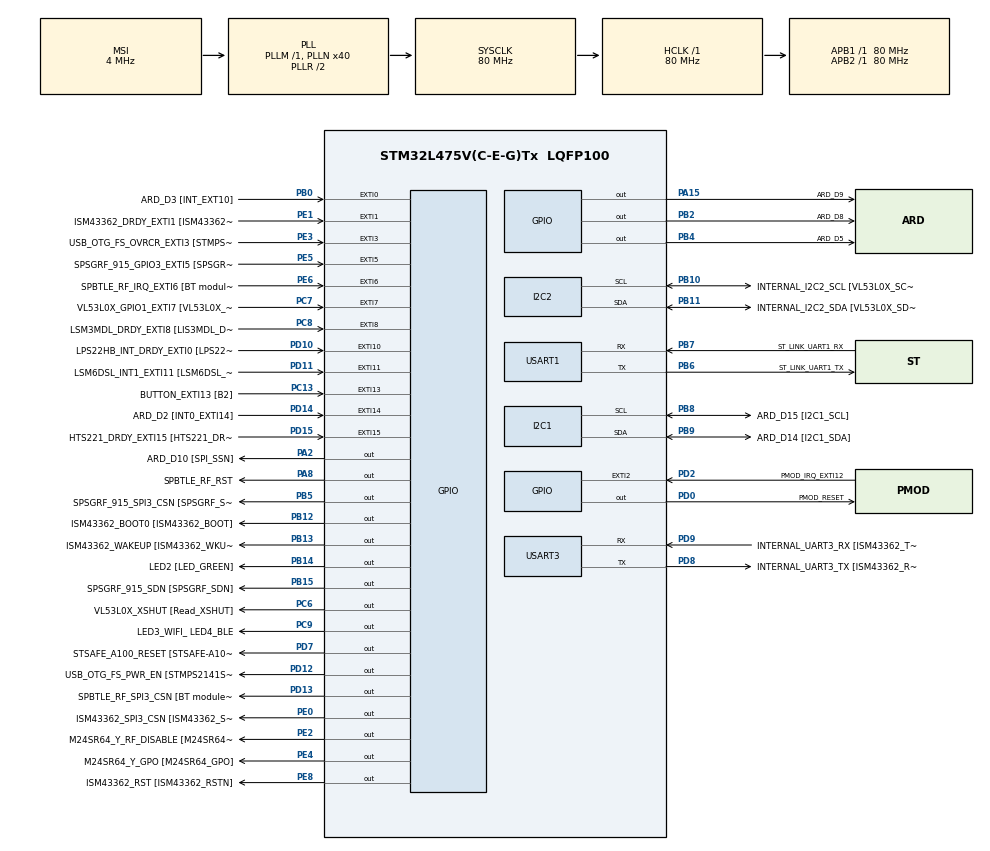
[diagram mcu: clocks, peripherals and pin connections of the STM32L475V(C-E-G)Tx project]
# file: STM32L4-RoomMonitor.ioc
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I2C1.Timing=0x10909CEC
I2C2.Timing=0x10909CEC
Mcu.Family=STM32L4
Mcu.Name=STM32L475V(C-E-G)Tx
Mcu.Package=LQFP100
NVIC.EXTI15_10_IRQn=true\:0\:0\:false\:false\:true\:true\:true
NVIC.EXTI9_5_IRQn=true\:0\:0\:false\:false\:true\:true\:true
NVIC.PriorityGroup=NVIC_PRIORITYGROUP_4
NVIC.TIM2_IRQn=true\:0\:0\:false\:false\:true\:true\:true
PA0.GPIO_Label=ARD_D1 [UART4_TX]
PA0.Signal=UART4_TX
PA1.GPIO_Label=ARD_D0 [UART4_RX]
PA1.Signal=UART4_RX
PA10.GPIO_Label=USB_OTG_FS_ID
PA10.Signal=USB_OTG_FS_ID
PA11.GPIO_Label=USB_OTG_FS_DM
PA11.Signal=USB_OTG_FS_DM
PA12.GPIO_Label=USB_OTG_FS_DP
PA12.Signal=USB_OTG_FS_DP
PA13\ (JTMS-SWDIO).GPIO_Label=SYS_JTMS_SWDIO
PA13\ (JTMS-SWDIO).Mode=Serial_Wire
PA13\ (JTMS-SWDIO).Signal=SYS_JTMS-SWDIO
PA14\ (JTCK-SWCLK).GPIO_Label=SYS_JTCK_SWCLK
PA14\ (JTCK-SWCLK).Mode=Serial_Wire
PA14\ (JTCK-SWCLK).Signal=SYS_JTCK-SWCLK
PA15\ (JTDI).GPIO_Label=ARD_D9
PA15\ (JTDI).Signal=GPIO_Output
PA2.GPIO_Label=ARD_D10 [SPI_SSN]
PA2.Signal=GPIO_Output
PA3.GPIO_Label=ARD_D4
PA3.Signal=S_TIM2_CH4
PA4.GPIO_Label=ARD_D7
PA4.Signal=ADCx_IN9
PA5.GPIO_Label=ARD_D13 [SPI1_SCK]
PA5.Signal=SPI1_SCK
PA6.GPIO_Label=ARD_D12 [SPI1_MISO]
PA6.Signal=SPI1_MISO
PA7.GPIO_Label=ARD_D11 [SPI1_MOSI]
PA7.Signal=SPI1_MOSI
PA8.GPIO_Label=SPBTLE_RF_RST
PA8.Signal=GPIO_Output
PA9.GPIO_Label=USB_OTG_FS_VBUS [STMPS2141STR_OUT]
PA9.Signal=USB_OTG_FS_VBUS
PB0.GPIO_Label=ARD_D3 [INT_EXT10]
PB0.Signal=GPXTI0
PB1.GPIO_Label=ARD_D6 [ADC1_IN6]
PB1.Signal=ADCx_IN16
PB10.GPIO_Label=INTERNAL_I2C2_SCL [VL53L0X_SCL]
PB10.GPIO_Pu=GPIO_PULLUP
PB10.Mode=I2C
PB10.Signal=I2C2_SCL
PB11.GPIO_Label=INTERNAL_I2C2_SDA [VL53L0X_SDA]
PB11.GPIO_Pu=GPIO_PULLUP
PB11.Mode=I2C
PB11.Signal=I2C2_SDA
PB12.GPIO_Label=ISM43362_BOOT0 [ISM43362_BOOT]
PB12.Signal=GPIO_Output
PB13.GPIO_Label=ISM43362_WAKEUP [ISM43362_WKUP]
PB13.Signal=GPIO_Output
PB14.GPIO_Label=LED2 [LED_GREEN]
PB14.Signal=GPIO_Output
PB15.GPIO_Label=SPSGRF_915_SDN [SPSGRF_SDN]
PB15.Signal=GPIO_Output
PB2.GPIO_Label=ARD_D8
PB2.Signal=GPIO_Output
PB3\ (JTDO-TRACESWO).GPIO_Label=SYS_JTD0_SWO
PB3\ (JTDO-TRACESWO).Signal=SYS_JTDO-SWO
PB4\ (NJTRST).GPIO_Label=ARD_D5
PB4\ (NJTRST).Signal=GPIO_Output
PB5.GPIO_Label=SPSGRF_915_SPI3_CSN [SPSGRF_SPI_CS]
PB5.PinState=GPIO_PIN_SET
PB5.Signal=GPIO_Output
PB6.GPIO_Label=ST_LINK_UART1_TX
PB6.Mode=Asynchronous
PB6.Signal=USART1_TX
PB7.GPIO_Label=ST_LINK_UART1_RX
PB7.Mode=Asynchronous
PB7.Signal=USART1_RX
PB8.GPIO_Label=ARD_D15 [I2C1_SCL]
PB8.Mode=I2C
PB8.Signal=I2C1_SCL
PB9.GPIO_Label=ARD_D14 [I2C1_SDA]
PB9.Mode=I2C
PB9.Signal=I2C1_SDA
PC0.GPIO_Label=ARD_A5 [ADC]
PC0.Signal=ADCx_IN1
PC1.GPIO_Label=ARD_A4 [ADC]
PC1.Signal=ADCx_IN2
PC10.GPIO_Label=INTERNAL_SPI3_SCK [BT module_SPI_SCLK] [ISM43362_SCK]
PC10.Signal=SPI3_SCK
PC11.GPIO_Label=INTERNAL_SPI3_MISO [BT module_SPI_MISO] [ISM43362_MISO]
PC11.Signal=SPI3_MISO
PC12.GPIO_Label=INTERNAL_SPI3_MOSI [BT module_SPI_MOSI] [ISM43362_MOSI]
PC12.Signal=SPI3_MOSI
PC13.GPIO_Label=BUTTON_EXTI13 [B2]
PC13.GPIO_ModeDefaultEXTI=GPIO_MODE_IT_FALLING
PC13.Signal=GPXTI13
PC14-OSC32_IN\ (PC14).Mode=LSE-External-Oscillator
PC14-OSC32_IN\ (PC14).Signal=RCC_OSC32_IN
PC15-OSC32_OUT\ (PC15).Mode=LSE-External-Oscillator
PC15-OSC32_OUT\ (PC15).Signal=RCC_OSC32_OUT
PC2.GPIO_Label=ARD_A3 [ADC]
PC2.Signal=ADCx_IN3
PC3.GPIO_Label=ARD_A2 [ADC]
PC3.Signal=ADCx_IN4
PC4.GPIO_Label=ARD_A1 [ADC]
PC4.Signal=ADCx_IN13
PC5.GPIO_Label=ARD_A0 [ADC]
PC5.Signal=ADCx_IN14
PC6.GPIO_Label=VL53L0X_XSHUT [Read_XSHUT]
PC6.Signal=GPIO_Output
PC7.GPIO_Label=VL53L0X_GPIO1_EXTI7 [VL53L0X_GPIO1]
PC7.Signal=GPXTI7
PC8.GPIO_Label=LSM3MDL_DRDY_EXTI8 [LIS3MDL_DRDY]
PC8.Signal=GPXTI8
PC9.GPIO_Label=LED3_WIFI_ LED4_BLE
PC9.Signal=GPIO_Output
PD0.GPIO_Label=PMOD_RESET
PD0.Signal=GPIO_Output
PD1.GPIO_Label=PMOD_SPI2_SCK
PD1.Signal=SPI2_SCK
PD10.GPIO_Label=LPS22HB_INT_DRDY_EXTI0 [LPS22HB_INT_DRDY] 
PD10.Signal=GPXTI10
PD11.GPIO_Label=LSM6DSL_INT1_EXTI11 [LSM6DSL_INT1]
PD11.Signal=GPXTI11
PD12.GPIO_Label=USB_OTG_FS_PWR_EN [STMPS2141STR_EN]
PD12.Signal=GPIO_Output
PD13.GPIO_Label=SPBTLE_RF_SPI3_CSN [BT module_SPI_CS]
PD13.PinState=GPIO_PIN_SET
PD13.Signal=GPIO_Output
PD14.GPIO_Label=ARD_D2 [INT0_EXTI14]
PD14.Signal=GPXTI14
PD15.GPIO_Label=HTS221_DRDY_EXTI15 [HTS221_DRDY]
PD15.Signal=GPXTI15
PD2.GPIO_Label=PMOD_IRQ_EXTI12
PD2.Signal=GPXTI2
PD3.GPIO_Label=PMOD_UART2_CTS
PD3.Signal=USART2_CTS
PD4.GPIO_Label=PMOD_UART2_RTS
PD4.Signal=USART2_RTS
PD5.GPIO_Label=PMOD_UART2_TX
PD5.Signal=USART2_TX
PD6.GPIO_Label=PMOD_UART2_RX
PD6.Signal=USART2_RX
PD7.GPIO_Label=STSAFE_A100_RESET [STSAFE-A100_RESET]
PD7.Signal=GPIO_Output
PD8.GPIO_Label=INTERNAL_UART3_TX [ISM43362_RX]
PD8.Mode=Asynchronous
PD8.Signal=USART3_TX
PD9.GPIO_Label=INTERNAL_UART3_RX [ISM43362_TX]
PD9.Mode=Asynchronous
PD9.Signal=USART3_RX
PE0.GPIO_Label=ISM43362_SPI3_CSN [ISM43362_SSN]
PE0.PinState=GPIO_PIN_SET
PE0.Signal=GPIO_Output
PE1.GPIO_Label=ISM43362_DRDY_EXTI1 [ISM43362_DATARDY]
PE1.Signal=GPXTI1
PE10.GPIO_Label=QUADSPI_CLK [MX25R6435F_SCLK]
PE10.Signal=QUADSPI_CLK
PE11.GPIO_Label=QUADSPI_NCS [MX25R6435F_SCLK]
PE11.Signal=QUADSPI_NCS
PE12.GPIO_Label=OQUADSPI_BK1_IO0 [MX25R6435F_IO0]
PE12.Signal=QUADSPI_BK1_IO0
PE13.GPIO_Label=QUADSPI_BK1_IO1 [MX25R6435F_IO1]
PE13.Signal=QUADSPI_BK1_IO1
PE14.GPIO_Label=QUAD_SPI_BK1_IO2 [MX25R6435F_IO2]
PE14.Signal=QUADSPI_BK1_IO2
PE15.GPIO_Label=QUAD_SPI_BK1_IO3 [MX25R6435F_IO3]
PE15.Signal=QUADSPI_BK1_IO3
PE2.GPIO_Label=M24SR64_Y_RF_DISABLE [M24SR64_RFDIS]
PE2.Signal=GPIO_Output
PE3.GPIO_Label=USB_OTG_FS_OVRCR_EXTI3 [STMPS2141STR_FAULT]
PE3.Signal=GPXTI3
PE4.GPIO_Label=M24SR64_Y_GPO [M24SR64_GPO]
PE4.Signal=GPIO_Output
PE5.GPIO_Label=SPSGRF_915_GPIO3_EXTI5 [SPSGRF_GPIO_3]
PE5.Signal=GPXTI5
PE6.GPIO_Label=SPBTLE_RF_IRQ_EXTI6 [BT module_SPI_IRQ]
PE6.Signal=GPXTI6
PE7.GPIO_Label=DFSDM1_DATIN2 [MP34DT01_DOUT]
PE7.Signal=S_DATAIN2DFSDM1
PE8.GPIO_Label=ISM43362_RST [ISM43362_RSTN]
PE8.Signal=GPIO_Output
PE9.GPIO_Label=DFSDM1_CKOUT [MP34DT01_CLK]
PE9.Signal=S_CKOUTDFSDM1
ProjectManager.HeapSize=0x200
ProjectManager.StackSize=0x400
ProjectManager.TargetToolchain=STM32CubeIDE
RCC.ADCFreq_Value=48000000
RCC.AHBFreq_Value=80000000
RCC.APB1Freq_Value=80000000
RCC.APB1TimFreq_Value=80000000
RCC.APB2Freq_Value=80000000
RCC.APB2TimFreq_Value=80000000
RCC.CortexFreq_Value=80000000
RCC.HCLKFreq_Value=80000000
RCC.HSE_VALUE=8000000
RCC.HSI_VALUE=16000000
RCC.MSI_VALUE=4000000
RCC.PLLN=40
RCC.PLLSAI1N=24
RCC.SYSCLKFreq_VALUE=80000000
RCC.SYSCLKSource=RCC_SYSCLKSOURCE_PLLCLK
RCC.USBFreq_Value=48000000
RCC.VCOOutputFreq_Value=160000000
SH.ADCx_IN1.0=ADC1_IN1
SH.ADCx_IN13.0=ADC1_IN13
SH.ADCx_IN14.0=ADC1_IN14
SH.ADCx_IN16.0=ADC1_IN16
SH.ADCx_IN2.0=ADC1_IN2
SH.ADCx_IN3.0=ADC1_IN3
SH.ADCx_IN4.0=ADC1_IN4
SH.ADCx_IN9.0=ADC1_IN9
SH.S_CKOUTDFSDM1.0=DFSDM1_CKOUT
SH.S_CKOUTDFSDM1.1=DFSDM1_CKOUT
SH.S_DATAIN2DFSDM1.0=DFSDM1_DATIN2
SH.S_TIM2_CH4.0=TIM2_CH4
TIM2.Period=300000-1
TIM2.Prescaler=16000-1
USART1.VirtualMode-Asynchronous=VM_ASYNC
USART3.VirtualMode-Asynchronous=VM_ASYNC
VP_TIM2_VS_ClockSourceINT.Mode=Internal
board=B-L475E-IOT01A2

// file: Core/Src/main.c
/* USER CODE BEGIN Header */
/**
 ******************************************************************************
 * @file           : main.c
 * @brief          : Main program body
 ******************************************************************************
 * @attention
 *
 * <h2><center>&copy; Copyright (c) 2021 STMicroelectronics.
 * All rights reserved.</center></h2>
 *
 * This software component is licensed by ST under BSD 3-Clause license,
 * the "License"; You may not use this file except in compliance with the
 * License. You may obtain a copy of the License at:
 *                        opensource.org/licenses/BSD-3-Clause
 *
 ******************************************************************************
 */
/* USER CODE END Header */
#include "main.h"

/* USER CODE BEGIN Includes */
#include "stm32l475e_iot01.h"
#include "stm32l475e_iot01_tsensor.h"
#include "stm32l475e_iot01_hsensor.h"
#include "stm32l475e_iot01_psensor.h"
#include "lcm1602.h"
#include <math.h>
#include <stdio.h>
#include <string.h>
/* USER CODE END Includes */

/* USER CODE BEGIN PD */
#define LOW_POWER	1
/* USER CODE END PD */

I2C_HandleTypeDef hi2c1;
I2C_HandleTypeDef hi2c2;

TIM_HandleTypeDef htim2;

UART_HandleTypeDef huart1;
UART_HandleTypeDef huart3;

/* USER CODE BEGIN PV */
int initTim2 = 0;
float temp_value = 0; // Measured temperature value
float hum_value = 0; // Measured relative humidity value
float pres_value = 0; // Measured pressure value
char str_tmp[100] = ""; // Formatted message to display the temperature/humidity value
char msg1[] = "\n\n\r****** Room Monitor Application ******\r\n";
char msg2[] = "=====> Temperature/Humidity sensor HTS221 initialized \r\n ";
char msg3[] = "=====> Barometer sensor LPS22HB initialized \r\n ";
char msg4[] = "=====> LCD LCM1602 initialized \r\n ";
/* USER CODE END PV */

void SystemClock_Config(void);
static void MX_GPIO_Init(void);
static void MX_I2C2_Init(void);
static void MX_USART1_UART_Init(void);
static void MX_USART3_UART_Init(void);
static void MX_I2C1_Init(void);
static void MX_TIM2_Init(void);

int main(void)
{

	/* MCU Configuration--------------------------------------------------------*/

	/* Reset of all peripherals, Initializes the Flash interface and the Systick. */
	HAL_Init();

	/* Configure the system clock */
	SystemClock_Config();

	/* Initialize all configured peripherals */
	MX_GPIO_Init();
	MX_I2C2_Init();
	MX_USART1_UART_Init();
	MX_USART3_UART_Init();
	MX_I2C1_Init();
	MX_TIM2_Init();
	/* USER CODE BEGIN 2 */
	BSP_PB_Init(BUTTON_USER, BUTTON_MODE_EXTI);
	HAL_UART_Transmit(&huart1,( uint8_t * )msg1,strlen(msg1),1000);
	BSP_TSENSOR_Init();
	BSP_HSENSOR_Init();
	HAL_UART_Transmit(&huart1,( uint8_t * )msg2,strlen(msg2),1000);
	BSP_PSENSOR_Init();
	HAL_UART_Transmit(&huart1,( uint8_t * )msg3,strlen(msg3),1000);
	LCM1602_Init(&hi2c1);
	HAL_UART_Transmit(&huart1,( uint8_t * )msg4,strlen(msg4),1000);
	/* USER CODE END 2 */

	/* Infinite loop */
	/* USER CODE BEGIN WHILE */
#if LOW_POWER
	HAL_TIM_Base_Start_IT(&htim2);
	HAL_Delay(100);
#endif
	while (1)
	{
		/* USER CODE END WHILE */

		/* USER CODE BEGIN 3 */
		temp_value = BSP_TSENSOR_ReadTemp();
		int tmpInt1 = temp_value;
		float tmpFrac = temp_value - tmpInt1;
		int tmpInt2 = trunc(tmpFrac * 100);

		hum_value = BSP_HSENSOR_ReadHumidity();
		int humInt1 = hum_value;
		float humFrac = hum_value - humInt1;
		int humInt2 = trunc(humFrac * 100);

		pres_value = BSP_PSENSOR_ReadPressure();
		int presInt1 = pres_value;
		float presFrac = pres_value - presInt1;
		int presInt2 = trunc(presFrac * 100);

		sprintf(str_tmp,"Tick %d TEMPERATURE = %d.%02d Celsius HUMIDITY = %d.%02d %%RH PRESSURE = %d.%02d hPa\n\r",
				HAL_GetTick(), tmpInt1, tmpInt2, humInt1, humInt2, presInt1, presInt2);
		HAL_UART_Transmit(&huart1,( uint8_t * )str_tmp,strlen(str_tmp),1000);

		LCM1602_ClearDisplay(&hi2c1);
		sprintf(str_tmp,"%d.%02d%cC %d.%02d%%RH", tmpInt1, tmpInt2, DEGREES_SYMBOL, humInt1, humInt2);
		LCM1602_DisplayString(&hi2c1, 0, 0, str_tmp, strlen(str_tmp));
		sprintf(str_tmp,"%d.%02d hPa", presInt1, presInt2);
		LCM1602_DisplayString(&hi2c1, 1, 2, str_tmp, strlen(str_tmp));

#if LOW_POWER
		//		 Implementation with Low Power
		HAL_SuspendTick();
		HAL_PWR_EnterSLEEPMode(PWR_MAINREGULATOR_ON, PWR_SLEEPENTRY_WFI);
#else
		// Implementation without Low Power. Delay 5 min
		int min = 5;
		int sec = 0;
		HAL_Delay((min * 60 + sec) * 1000);
#endif
	}
	/* USER CODE END 3 */
}

void SystemClock_Config(void)
{
	RCC_OscInitTypeDef RCC_OscInitStruct = {0};
	RCC_ClkInitTypeDef RCC_ClkInitStruct = {0};

	/** Configure the main internal regulator output voltage
	 */
	if (HAL_PWREx_ControlVoltageScaling(PWR_REGULATOR_VOLTAGE_SCALE1) != HAL_OK)
	{
		Error_Handler();
	}
	/** Configure LSE Drive Capability
	 */
	HAL_PWR_EnableBkUpAccess();
	__HAL_RCC_LSEDRIVE_CONFIG(RCC_LSEDRIVE_LOW);
	/** Initializes the RCC Oscillators according to the specified parameters
	 * in the RCC_OscInitTypeDef structure.
	 */
	RCC_OscInitStruct.OscillatorType = RCC_OSCILLATORTYPE_LSE|RCC_OSCILLATORTYPE_MSI;
	RCC_OscInitStruct.LSEState = RCC_LSE_ON;
	RCC_OscInitStruct.MSIState = RCC_MSI_ON;
	RCC_OscInitStruct.MSICalibrationValue = 0;
	RCC_OscInitStruct.MSIClockRange = RCC_MSIRANGE_6;
	RCC_OscInitStruct.PLL.PLLState = RCC_PLL_ON;
	RCC_OscInitStruct.PLL.PLLSource = RCC_PLLSOURCE_MSI;
	RCC_OscInitStruct.PLL.PLLM = 1;
	RCC_OscInitStruct.PLL.PLLN = 40;
	RCC_OscInitStruct.PLL.PLLP = RCC_PLLP_DIV7;
	RCC_OscInitStruct.PLL.PLLQ = RCC_PLLQ_DIV2;
	RCC_OscInitStruct.PLL.PLLR = RCC_PLLR_DIV2;
	if (HAL_RCC_OscConfig(&RCC_OscInitStruct) != HAL_OK)
	{
		Error_Handler();
	}
	/** Initializes the CPU, AHB and APB buses clocks
	 */
	RCC_ClkInitStruct.ClockType = RCC_CLOCKTYPE_HCLK|RCC_CLOCKTYPE_SYSCLK
			|RCC_CLOCKTYPE_PCLK1|RCC_CLOCKTYPE_PCLK2;
	RCC_ClkInitStruct.SYSCLKSource = RCC_SYSCLKSOURCE_PLLCLK;
	RCC_ClkInitStruct.AHBCLKDivider = RCC_SYSCLK_DIV1;
	RCC_ClkInitStruct.APB1CLKDivider = RCC_HCLK_DIV1;
	RCC_ClkInitStruct.APB2CLKDivider = RCC_HCLK_DIV1;

	if (HAL_RCC_ClockConfig(&RCC_ClkInitStruct, FLASH_LATENCY_4) != HAL_OK)
	{
		Error_Handler();
	}
	/** Enable MSI Auto calibration
	 */
	HAL_RCCEx_EnableMSIPLLMode();
}

static void MX_I2C1_Init(void)
{

	hi2c1.Instance = I2C1;
	hi2c1.Init.Timing = 0x10909CEC;
	hi2c1.Init.OwnAddress1 = 0;
	hi2c1.Init.AddressingMode = I2C_ADDRESSINGMODE_7BIT;
	hi2c1.Init.DualAddressMode = I2C_DUALADDRESS_DISABLE;
	hi2c1.Init.OwnAddress2 = 0;
	hi2c1.Init.OwnAddress2Masks = I2C_OA2_NOMASK;
	hi2c1.Init.GeneralCallMode = I2C_GENERALCALL_DISABLE;
	hi2c1.Init.NoStretchMode = I2C_NOSTRETCH_DISABLE;
	if (HAL_I2C_Init(&hi2c1) != HAL_OK)
	{
		Error_Handler();
	}
	/** Configure Analogue filter
	 */
	if (HAL_I2CEx_ConfigAnalogFilter(&hi2c1, I2C_ANALOGFILTER_ENABLE) != HAL_OK)
	{
		Error_Handler();
	}
	/** Configure Digital filter
	 */
	if (HAL_I2CEx_ConfigDigitalFilter(&hi2c1, 0) != HAL_OK)
	{
		Error_Handler();
	}

}

static void MX_I2C2_Init(void)
{

	hi2c2.Instance = I2C2;
	hi2c2.Init.Timing = 0x10909CEC;
	hi2c2.Init.OwnAddress1 = 0;
	hi2c2.Init.AddressingMode = I2C_ADDRESSINGMODE_7BIT;
	hi2c2.Init.DualAddressMode = I2C_DUALADDRESS_DISABLE;
	hi2c2.Init.OwnAddress2 = 0;
	hi2c2.Init.OwnAddress2Masks = I2C_OA2_NOMASK;
	hi2c2.Init.GeneralCallMode = I2C_GENERALCALL_DISABLE;
	hi2c2.Init.NoStretchMode = I2C_NOSTRETCH_DISABLE;
	if (HAL_I2C_Init(&hi2c2) != HAL_OK)
	{
		Error_Handler();
	}
	/** Configure Analogue filter
	 */
	if (HAL_I2CEx_ConfigAnalogFilter(&hi2c2, I2C_ANALOGFILTER_ENABLE) != HAL_OK)
	{
		Error_Handler();
	}
	/** Configure Digital filter
	 */
	if (HAL_I2CEx_ConfigDigitalFilter(&hi2c2, 0) != HAL_OK)
	{
		Error_Handler();
	}

}

static void MX_TIM2_Init(void)
{

	TIM_ClockConfigTypeDef sClockSourceConfig = {0};
	TIM_MasterConfigTypeDef sMasterConfig = {0};

	htim2.Instance = TIM2;
	htim2.Init.Prescaler = 16000-1;
	htim2.Init.CounterMode = TIM_COUNTERMODE_UP;
	htim2.Init.Period = (5*300000)-1;
	htim2.Init.ClockDivision = TIM_CLOCKDIVISION_DIV1;
	htim2.Init.AutoReloadPreload = TIM_AUTORELOAD_PRELOAD_DISABLE;
	if (HAL_TIM_Base_Init(&htim2) != HAL_OK)
	{
		Error_Handler();
	}
	sClockSourceConfig.ClockSource = TIM_CLOCKSOURCE_INTERNAL;
	if (HAL_TIM_ConfigClockSource(&htim2, &sClockSourceConfig) != HAL_OK)
	{
		Error_Handler();
	}
	sMasterConfig.MasterOutputTrigger = TIM_TRGO_RESET;
	sMasterConfig.MasterSlaveMode = TIM_MASTERSLAVEMODE_DISABLE;
	if (HAL_TIMEx_MasterConfigSynchronization(&htim2, &sMasterConfig) != HAL_OK)
	{
		Error_Handler();
	}

}

static void MX_USART1_UART_Init(void)
{

	huart1.Instance = USART1;
	huart1.Init.BaudRate = 115200;
	huart1.Init.WordLength = UART_WORDLENGTH_8B;
	huart1.Init.StopBits = UART_STOPBITS_1;
	huart1.Init.Parity = UART_PARITY_NONE;
	huart1.Init.Mode = UART_MODE_TX_RX;
	huart1.Init.HwFlowCtl = UART_HWCONTROL_NONE;
	huart1.Init.OverSampling = UART_OVERSAMPLING_16;
	huart1.Init.OneBitSampling = UART_ONE_BIT_SAMPLE_DISABLE;
	huart1.AdvancedInit.AdvFeatureInit = UART_ADVFEATURE_NO_INIT;
	if (HAL_UART_Init(&huart1) != HAL_OK)
	{
		Error_Handler();
	}

}

static void MX_USART3_UART_Init(void)
{

	huart3.Instance = USART3;
	huart3.Init.BaudRate = 115200;
	huart3.Init.WordLength = UART_WORDLENGTH_8B;
	huart3.Init.StopBits = UART_STOPBITS_1;
	huart3.Init.Parity = UART_PARITY_NONE;
	huart3.Init.Mode = UART_MODE_TX_RX;
	huart3.Init.HwFlowCtl = UART_HWCONTROL_NONE;
	huart3.Init.OverSampling = UART_OVERSAMPLING_16;
	huart3.Init.OneBitSampling = UART_ONE_BIT_SAMPLE_DISABLE;
	huart3.AdvancedInit.AdvFeatureInit = UART_ADVFEATURE_NO_INIT;
	if (HAL_UART_Init(&huart3) != HAL_OK)
	{
		Error_Handler();
	}

}

static void MX_GPIO_Init(void)
{
	GPIO_InitTypeDef GPIO_InitStruct = {0};

	/* GPIO Ports Clock Enable */
	__HAL_RCC_GPIOE_CLK_ENABLE();
	__HAL_RCC_GPIOC_CLK_ENABLE();
	__HAL_RCC_GPIOA_CLK_ENABLE();
	__HAL_RCC_GPIOB_CLK_ENABLE();
	__HAL_RCC_GPIOD_CLK_ENABLE();

	/*Configure GPIO pin Output Level */
	HAL_GPIO_WritePin(GPIOE, M24SR64_Y_RF_DISABLE_Pin|M24SR64_Y_GPO_Pin|ISM43362_RST_Pin, GPIO_PIN_RESET);

	/*Configure GPIO pin Output Level */
	HAL_GPIO_WritePin(GPIOA, ARD_D10_Pin|SPBTLE_RF_RST_Pin|ARD_D9_Pin, GPIO_PIN_RESET);

	/*Configure GPIO pin Output Level */
	HAL_GPIO_WritePin(GPIOB, ARD_D8_Pin|ISM43362_BOOT0_Pin|ISM43362_WAKEUP_Pin|LED2_Pin
			|SPSGRF_915_SDN_Pin|ARD_D5_Pin, GPIO_PIN_RESET);

	/*Configure GPIO pin Output Level */
	HAL_GPIO_WritePin(GPIOD, USB_OTG_FS_PWR_EN_Pin|PMOD_RESET_Pin|STSAFE_A100_RESET_Pin, GPIO_PIN_RESET);

	/*Configure GPIO pin Output Level */
	HAL_GPIO_WritePin(SPBTLE_RF_SPI3_CSN_GPIO_Port, SPBTLE_RF_SPI3_CSN_Pin, GPIO_PIN_SET);

	/*Configure GPIO pin Output Level */
	HAL_GPIO_WritePin(GPIOC, VL53L0X_XSHUT_Pin|LED3_WIFI__LED4_BLE_Pin, GPIO_PIN_RESET);

	/*Configure GPIO pin Output Level */
	HAL_GPIO_WritePin(SPSGRF_915_SPI3_CSN_GPIO_Port, SPSGRF_915_SPI3_CSN_Pin, GPIO_PIN_SET);

	/*Configure GPIO pin Output Level */
	HAL_GPIO_WritePin(ISM43362_SPI3_CSN_GPIO_Port, ISM43362_SPI3_CSN_Pin, GPIO_PIN_SET);

	/*Configure GPIO pins : M24SR64_Y_RF_DISABLE_Pin M24SR64_Y_GPO_Pin ISM43362_RST_Pin ISM43362_SPI3_CSN_Pin */
	GPIO_InitStruct.Pin = M24SR64_Y_RF_DISABLE_Pin|M24SR64_Y_GPO_Pin|ISM43362_RST_Pin|ISM43362_SPI3_CSN_Pin;
	GPIO_InitStruct.Mode = GPIO_MODE_OUTPUT_PP;
	GPIO_InitStruct.Pull = GPIO_NOPULL;
	GPIO_InitStruct.Speed = GPIO_SPEED_FREQ_LOW;
	HAL_GPIO_Init(GPIOE, &GPIO_InitStruct);

	/*Configure GPIO pins : USB_OTG_FS_OVRCR_EXTI3_Pin SPSGRF_915_GPIO3_EXTI5_Pin SPBTLE_RF_IRQ_EXTI6_Pin ISM43362_DRDY_EXTI1_Pin */
	GPIO_InitStruct.Pin = USB_OTG_FS_OVRCR_EXTI3_Pin|SPSGRF_915_GPIO3_EXTI5_Pin|SPBTLE_RF_IRQ_EXTI6_Pin|ISM43362_DRDY_EXTI1_Pin;
	GPIO_InitStruct.Mode = GPIO_MODE_IT_RISING;
	GPIO_InitStruct.Pull = GPIO_NOPULL;
	HAL_GPIO_Init(GPIOE, &GPIO_InitStruct);

	/*Configure GPIO pin : BUTTON_EXTI13_Pin */
	GPIO_InitStruct.Pin = BUTTON_EXTI13_Pin;
	GPIO_InitStruct.Mode = GPIO_MODE_IT_FALLING;
	GPIO_InitStruct.Pull = GPIO_NOPULL;
	HAL_GPIO_Init(BUTTON_EXTI13_GPIO_Port, &GPIO_InitStruct);

	/*Configure GPIO pins : ARD_A5_Pin ARD_A4_Pin ARD_A3_Pin ARD_A2_Pin
                           ARD_A1_Pin ARD_A0_Pin */
	GPIO_InitStruct.Pin = ARD_A5_Pin|ARD_A4_Pin|ARD_A3_Pin|ARD_A2_Pin
			|ARD_A1_Pin|ARD_A0_Pin;
	GPIO_InitStruct.Mode = GPIO_MODE_ANALOG_ADC_CONTROL;
	GPIO_InitStruct.Pull = GPIO_NOPULL;
	HAL_GPIO_Init(GPIOC, &GPIO_InitStruct);

	/*Configure GPIO pins : ARD_D1_Pin ARD_D0_Pin */
	GPIO_InitStruct.Pin = ARD_D1_Pin|ARD_D0_Pin;
	GPIO_InitStruct.Mode = GPIO_MODE_AF_PP;
	GPIO_InitStruct.Pull = GPIO_NOPULL;
	GPIO_InitStruct.Speed = GPIO_SPEED_FREQ_VERY_HIGH;
	GPIO_InitStruct.Alternate = GPIO_AF8_UART4;
	HAL_GPIO_Init(GPIOA, &GPIO_InitStruct);

	/*Configure GPIO pins : ARD_D10_Pin SPBTLE_RF_RST_Pin ARD_D9_Pin */
	GPIO_InitStruct.Pin = ARD_D10_Pin|SPBTLE_RF_RST_Pin|ARD_D9_Pin;
	GPIO_InitStruct.Mode = GPIO_MODE_OUTPUT_PP;
	GPIO_InitStruct.Pull = GPIO_NOPULL;
	GPIO_InitStruct.Speed = GPIO_SPEED_FREQ_LOW;
	HAL_GPIO_Init(GPIOA, &GPIO_InitStruct);

	/*Configure GPIO pin : ARD_D7_Pin */
	GPIO_InitStruct.Pin = ARD_D7_Pin;
	GPIO_InitStruct.Mode = GPIO_MODE_ANALOG_ADC_CONTROL;
	GPIO_InitStruct.Pull = GPIO_NOPULL;
	HAL_GPIO_Init(ARD_D7_GPIO_Port, &GPIO_InitStruct);

	/*Configure GPIO pins : ARD_D13_Pin ARD_D12_Pin ARD_D11_Pin */
	GPIO_InitStruct.Pin = ARD_D13_Pin|ARD_D12_Pin|ARD_D11_Pin;
	GPIO_InitStruct.Mode = GPIO_MODE_AF_PP;
	GPIO_InitStruct.Pull = GPIO_NOPULL;
	GPIO_InitStruct.Speed = GPIO_SPEED_FREQ_VERY_HIGH;
	GPIO_InitStruct.Alternate = GPIO_AF5_SPI1;
	HAL_GPIO_Init(GPIOA, &GPIO_InitStruct);

	/*Configure GPIO pin : ARD_D3_Pin */
	GPIO_InitStruct.Pin = ARD_D3_Pin;
	GPIO_InitStruct.Mode = GPIO_MODE_IT_RISING;
	GPIO_InitStruct.Pull = GPIO_NOPULL;
	HAL_GPIO_Init(ARD_D3_GPIO_Port, &GPIO_InitStruct);

	/*Configure GPIO pin : ARD_D6_Pin */
	GPIO_InitStruct.Pin = ARD_D6_Pin;
	GPIO_InitStruct.Mode = GPIO_MODE_ANALOG_ADC_CONTROL;
	GPIO_InitStruct.Pull = GPIO_NOPULL;
	HAL_GPIO_Init(ARD_D6_GPIO_Port, &GPIO_InitStruct);

	/*Configure GPIO pins : ARD_D8_Pin ISM43362_BOOT0_Pin ISM43362_WAKEUP_Pin LED2_Pin
                           SPSGRF_915_SDN_Pin ARD_D5_Pin SPSGRF_915_SPI3_CSN_Pin */
	GPIO_InitStruct.Pin = ARD_D8_Pin|ISM43362_BOOT0_Pin|ISM43362_WAKEUP_Pin|LED2_Pin
			|SPSGRF_915_SDN_Pin|ARD_D5_Pin|SPSGRF_915_SPI3_CSN_Pin;
	GPIO_InitStruct.Mode = GPIO_MODE_OUTPUT_PP;
	GPIO_InitStruct.Pull = GPIO_NOPULL;
	GPIO_InitStruct.Speed = GPIO_SPEED_FREQ_LOW;
	HAL_GPIO_Init(GPIOB, &GPIO_InitStruct);

	/*Configure GPIO pins : DFSDM1_DATIN2_Pin DFSDM1_CKOUT_Pin */
	GPIO_InitStruct.Pin = DFSDM1_DATIN2_Pin|DFSDM1_CKOUT_Pin;
	GPIO_InitStruct.Mode = GPIO_MODE_AF_PP;
	GPIO_InitStruct.Pull = GPIO_NOPULL;
	GPIO_InitStruct.Speed = GPIO_SPEED_FREQ_LOW;
	GPIO_InitStruct.Alternate = GPIO_AF6_DFSDM1;
	HAL_GPIO_Init(GPIOE, &GPIO_InitStruct);

	/*Configure GPIO pins : QUADSPI_CLK_Pin QUADSPI_NCS_Pin OQUADSPI_BK1_IO0_Pin QUADSPI_BK1_IO1_Pin
                           QUAD_SPI_BK1_IO2_Pin QUAD_SPI_BK1_IO3_Pin */
	GPIO_InitStruct.Pin = QUADSPI_CLK_Pin|QUADSPI_NCS_Pin|OQUADSPI_BK1_IO0_Pin|QUADSPI_BK1_IO1_Pin
			|QUAD_SPI_BK1_IO2_Pin|QUAD_SPI_BK1_IO3_Pin;
	GPIO_InitStruct.Mode = GPIO_MODE_AF_PP;
	GPIO_InitStruct.Pull = GPIO_NOPULL;
	GPIO_InitStruct.Speed = GPIO_SPEED_FREQ_VERY_HIGH;
	GPIO_InitStruct.Alternate = GPIO_AF10_QUADSPI;
	HAL_GPIO_Init(GPIOE, &GPIO_InitStruct);

	/*Configure GPIO pins : LPS22HB_INT_DRDY_EXTI0_Pin LSM6DSL_INT1_EXTI11_Pin ARD_D2_Pin HTS221_DRDY_EXTI15_Pin
                           PMOD_IRQ_EXTI12_Pin */
	GPIO_InitStruct.Pin = LPS22HB_INT_DRDY_EXTI0_Pin|LSM6DSL_INT1_EXTI11_Pin|ARD_D2_Pin|HTS221_DRDY_EXTI15_Pin
			|PMOD_IRQ_EXTI12_Pin;
	GPIO_InitStruct.Mode = GPIO_MODE_IT_RISING;
	GPIO_InitStruct.Pull = GPIO_NOPULL;
	HAL_GPIO_Init(GPIOD, &GPIO_InitStruct);

	/*Configure GPIO pins : USB_OTG_FS_PWR_EN_Pin SPBTLE_RF_SPI3_CSN_Pin PMOD_RESET_Pin STSAFE_A100_RESET_Pin */
	GPIO_InitStruct.Pin = USB_OTG_FS_PWR_EN_Pin|SPBTLE_RF_SPI3_CSN_Pin|PMOD_RESET_Pin|STSAFE_A100_RESET_Pin;
	GPIO_InitStruct.Mode = GPIO_MODE_OUTPUT_PP;
	GPIO_InitStruct.Pull = GPIO_NOPULL;
	GPIO_InitStruct.Speed = GPIO_SPEED_FREQ_LOW;
	HAL_GPIO_Init(GPIOD, &GPIO_InitStruct);

	/*Configure GPIO pins : VL53L0X_XSHUT_Pin LED3_WIFI__LED4_BLE_Pin */
	GPIO_InitStruct.Pin = VL53L0X_XSHUT_Pin|LED3_WIFI__LED4_BLE_Pin;
	GPIO_InitStruct.Mode = GPIO_MODE_OUTPUT_PP;
	GPIO_InitStruct.Pull = GPIO_NOPULL;
	GPIO_InitStruct.Speed = GPIO_SPEED_FREQ_LOW;
	HAL_GPIO_Init(GPIOC, &GPIO_InitStruct);

	/*Configure GPIO pins : VL53L0X_GPIO1_EXTI7_Pin LSM3MDL_DRDY_EXTI8_Pin */
	GPIO_InitStruct.Pin = VL53L0X_GPIO1_EXTI7_Pin|LSM3MDL_DRDY_EXTI8_Pin;
	GPIO_InitStruct.Mode = GPIO_MODE_IT_RISING;
	GPIO_InitStruct.Pull = GPIO_NOPULL;
	HAL_GPIO_Init(GPIOC, &GPIO_InitStruct);

	/*Configure GPIO pin : USB_OTG_FS_VBUS_Pin */
	GPIO_InitStruct.Pin = USB_OTG_FS_VBUS_Pin;
	GPIO_InitStruct.Mode = GPIO_MODE_INPUT;
	GPIO_InitStruct.Pull = GPIO_NOPULL;
	HAL_GPIO_Init(USB_OTG_FS_VBUS_GPIO_Port, &GPIO_InitStruct);

	/*Configure GPIO pins : USB_OTG_FS_ID_Pin USB_OTG_FS_DM_Pin USB_OTG_FS_DP_Pin */
	GPIO_InitStruct.Pin = USB_OTG_FS_ID_Pin|USB_OTG_FS_DM_Pin|USB_OTG_FS_DP_Pin;
	GPIO_InitStruct.Mode = GPIO_MODE_AF_PP;
	GPIO_InitStruct.Pull = GPIO_NOPULL;
	GPIO_InitStruct.Speed = GPIO_SPEED_FREQ_VERY_HIGH;
	GPIO_InitStruct.Alternate = GPIO_AF10_OTG_FS;
	HAL_GPIO_Init(GPIOA, &GPIO_InitStruct);

	/*Configure GPIO pins : INTERNAL_SPI3_SCK_Pin INTERNAL_SPI3_MISO_Pin INTERNAL_SPI3_MOSI_Pin */
	GPIO_InitStruct.Pin = INTERNAL_SPI3_SCK_Pin|INTERNAL_SPI3_MISO_Pin|INTERNAL_SPI3_MOSI_Pin;
	GPIO_InitStruct.Mode = GPIO_MODE_AF_PP;
	GPIO_InitStruct.Pull = GPIO_NOPULL;
	GPIO_InitStruct.Speed = GPIO_SPEED_FREQ_VERY_HIGH;
	GPIO_InitStruct.Alternate = GPIO_AF6_SPI3;
	HAL_GPIO_Init(GPIOC, &GPIO_InitStruct);

	/*Configure GPIO pin : PMOD_SPI2_SCK_Pin */
	GPIO_InitStruct.Pin = PMOD_SPI2_SCK_Pin;
	GPIO_InitStruct.Mode = GPIO_MODE_AF_PP;
	GPIO_InitStruct.Pull = GPIO_NOPULL;
	GPIO_InitStruct.Speed = GPIO_SPEED_FREQ_VERY_HIGH;
	GPIO_InitStruct.Alternate = GPIO_AF5_SPI2;
	HAL_GPIO_Init(PMOD_SPI2_SCK_GPIO_Port, &GPIO_InitStruct);

	/*Configure GPIO pins : PMOD_UART2_CTS_Pin PMOD_UART2_RTS_Pin PMOD_UART2_TX_Pin PMOD_UART2_RX_Pin */
	GPIO_InitStruct.Pin = PMOD_UART2_CTS_Pin|PMOD_UART2_RTS_Pin|PMOD_UART2_TX_Pin|PMOD_UART2_RX_Pin;
	GPIO_InitStruct.Mode = GPIO_MODE_AF_PP;
	GPIO_InitStruct.Pull = GPIO_NOPULL;
	GPIO_InitStruct.Speed = GPIO_SPEED_FREQ_VERY_HIGH;
	GPIO_InitStruct.Alternate = GPIO_AF7_USART2;
	HAL_GPIO_Init(GPIOD, &GPIO_InitStruct);

	/* EXTI interrupt init*/
	HAL_NVIC_SetPriority(EXTI9_5_IRQn, 0, 0);
	HAL_NVIC_EnableIRQ(EXTI9_5_IRQn);

	HAL_NVIC_SetPriority(EXTI15_10_IRQn, 0, 0);
	HAL_NVIC_EnableIRQ(EXTI15_10_IRQn);

}

/* USER CODE BEGIN 4 */
void HAL_TIM_PeriodElapsedCallback(TIM_HandleTypeDef* htim)
{
#if LOW_POWER
	if (htim == &htim2)
	{
		if (initTim2 == 1)
		{
			HAL_ResumeTick();
			char msg[] = "Wake up from tim2.\r\n";
			HAL_UART_Transmit(&huart1,( uint8_t * )msg, strlen(msg),1000);
		}
		else
		{
			initTim2 = 1;
		}
	}
#endif
}

void HAL_GPIO_EXTI_Callback(uint16_t GPIO_Pin)
{
    if(GPIO_Pin == USER_BUTTON_PIN)
    {
    	HAL_ResumeTick();
		char msg[] = "Wake up from user button.\r\n";
		HAL_UART_Transmit(&huart1,( uint8_t * )msg, strlen(msg),1000);
    }
}
/* USER CODE END 4 */

void Error_Handler(void)
{
	__disable_irq();
	while (1)
	{
	}
}

/************************ (C) COPYRIGHT STMicroelectronics *****END OF FILE****/
